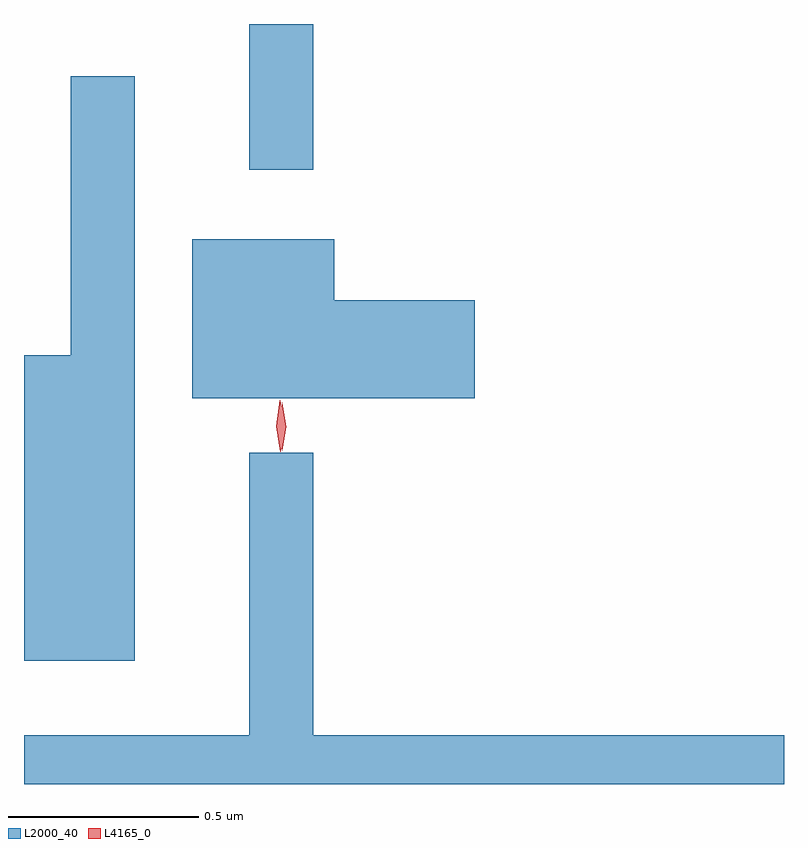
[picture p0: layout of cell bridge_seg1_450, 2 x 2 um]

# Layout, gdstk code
import gdstk
lib = gdstk.Library(unit=1e-6, precision=1e-09)
def R(c, l, rs):  # rectangles x0, y0, x1, y1
    for r in rs: c.add(gdstk.rectangle(r[:2], r[2:], *l))
def P(c, l, *ps):  # polygons
    for p in ps: c.add(gdstk.Polygon(p, *l))
L2000_40 = (2000, 40)
L4165_0 = (4165, 0)

bridge_seg1_450 = lib.new_cell('bridge_seg1_450')
R(bridge_seg1_450, L2000_40, [(248.941,859.153,249.109,859.536)])
P(bridge_seg1_450, L2000_40, [(248.639,859.398),(248.471,859.398),(248.471,858.664),(248.348,858.664),(248.348,857.861),(248.639,857.861)],
  [(249.534,858.809),(249.164,858.809),(249.164,858.969),(248.791,858.969),(248.791,858.551),(249.534,858.551)],
  [(250.348,857.664),(249.109,857.664),(249.109,858.408),(248.941,858.408),(248.941,857.664),(248.348,857.664),(248.348,857.536),(250.348,857.536)])
P(bridge_seg1_450, L4165_0, [(249.027,858.413),(249.018,858.476),(249.027,858.539),(249.028,858.54),(249.028,858.539),(249.038,858.476),(249.028,858.413),(249.028,858.413)],
  [(249.022,858.41),(249.022,858.41),(249.012,858.478),(249.021,858.546),(249.022,858.546),(249.022,858.546),(249.032,858.478),(249.023,858.41)])

lib.write_gds('bridge_seg1_450.gds')
